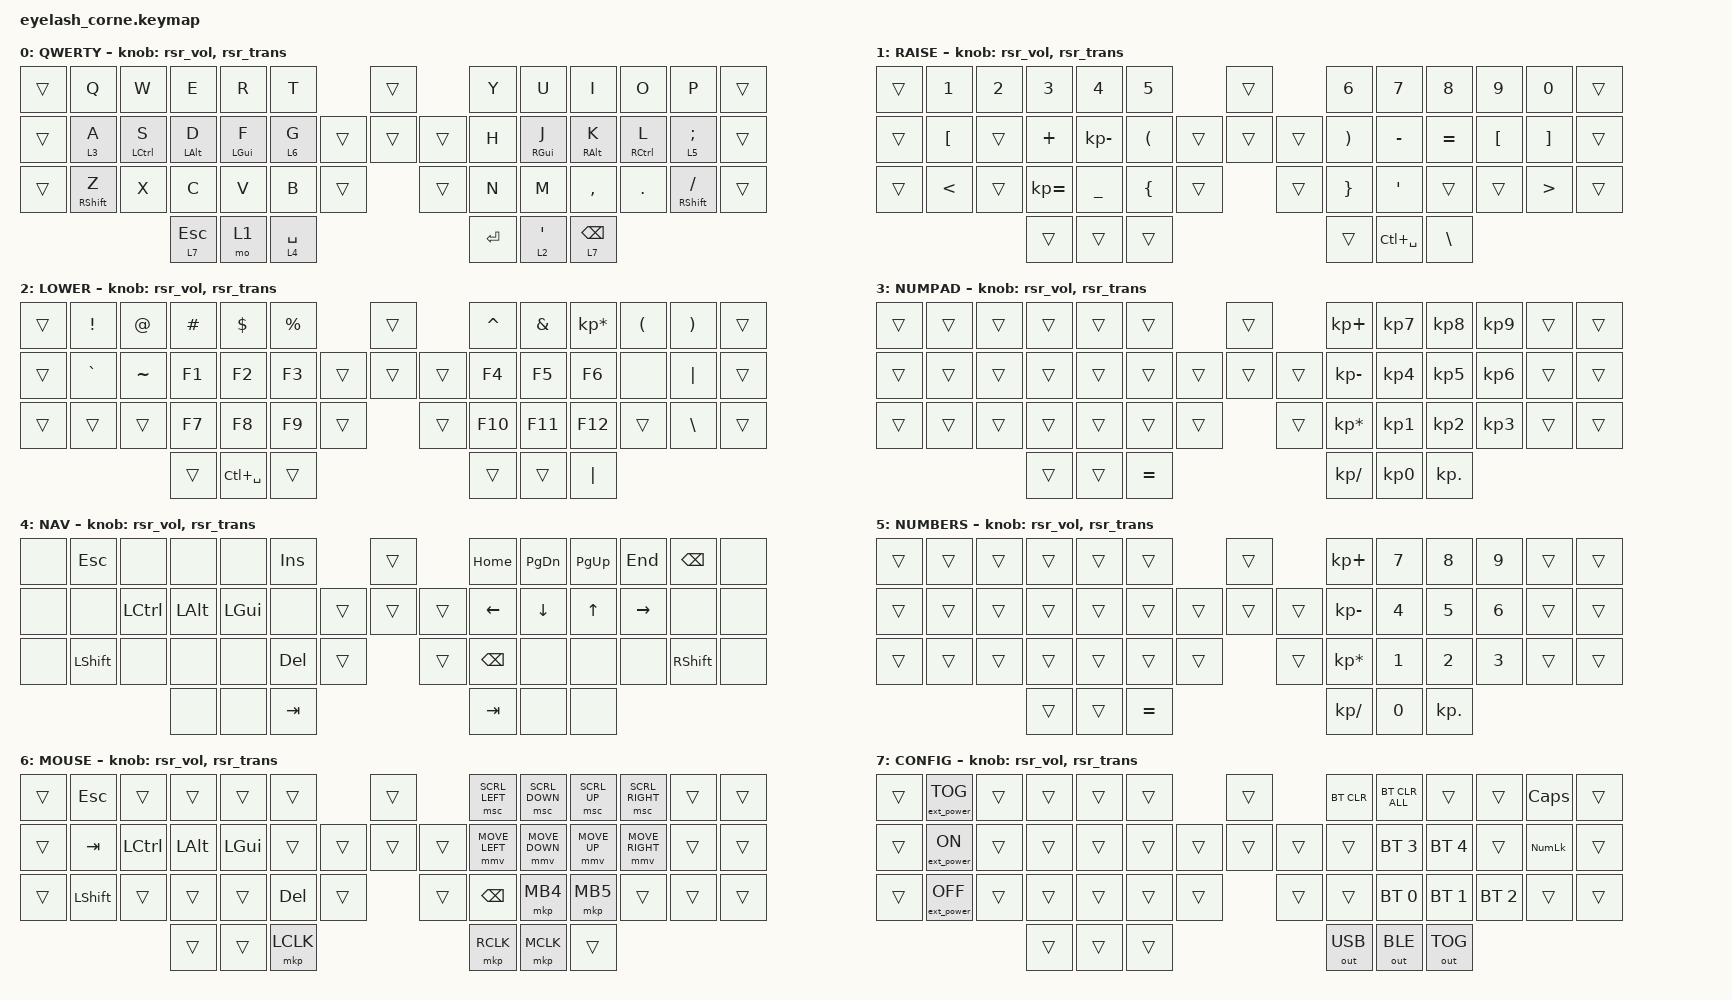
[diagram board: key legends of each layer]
#define ZMK_POINTING_DEFAULT_MOVE_VAL 1200  // 600
#define ZMK_POINTING_DEFAULT_SCRL_VAL 25   // 10

#include <input/processors.dtsi>
#include <zephyr/dt-bindings/input/input-event-codes.h>
#include <behaviors.dtsi>
#include <behaviors/runtime-sensor-rotate.dtsi>
#include <dt-bindings/zmk/bt.h>
#include <dt-bindings/zmk/keys.h>
#include <dt-bindings/zmk/outputs.h>
#include <dt-bindings/zmk/pointing.h>
#include <dt-bindings/zmk/rgb.h>
#include <dt-bindings/zmk/ext_power.h>

&soft_off { hold-time-ms = <2000>; };

&mt { flavor = "balanced"; };

&lt { flavor = "balanced"; };

/ {
    behaviors {

        mh: homerow_mods {
            compatible = "zmk,behavior-hold-tap";
            label = "HOMEROW_MODS";
            #binding-cells = <2>;
            tapping-term-ms = <200>;
            quick-tap-ms = <0>;
            flavor = "balanced";
            bindings = <&kp>, <&kp>;
        };

        td0: td0 {
            compatible = "zmk,behavior-tap-dance";
            display-name = "Shift/Caps Lock Tap Dance";
            #binding-cells = <0>;
            bindings = <&kp LEFT_SHIFT>, <&kp CAPS>;
        };
       

        rsr_vol: rsr_vol {
            compatible = "zmk,behavior-runtime-sensor-rotate";
            #sensor-binding-cells = <0>;
            tap-ms = <5>;
            cw-binding = <&kp C_VOL_UP>;
            ccw-binding = <&kp C_VOL_DN>;
        };

        rsr_trans: rsr_trans {
            compatible = "zmk,behavior-runtime-sensor-rotate";
            #sensor-binding-cells = <0>;
            tap-ms = <0>;
        };
    };

     



    keymap {
        compatible = "zmk,keymap";

       
        base0 {
            display-name = "QWERTY";
            bindings = <
&trans  &kp Q         &kp W        &kp E       &kp R       &kp T                            &trans          &kp Y      &kp U       &kp I            &kp O        &kp P            &trans
&trans  &lt 3 A       &mh LCTRL S  &mh LALT D  &mh LGUI F  &lt 6 G              &trans      &trans  &trans  &kp H      &mh RGUI J  &mh RALT K       &mh RCTRL L  &lt 5 SEMICOLON  &trans
&trans  &mt RSHIFT Z  &kp X        &kp C       &kp V       &kp B        &trans              &trans          &kp N      &kp M       &kp COMMA        &kp DOT      &mt RSHIFT FSLH  &trans
                                   &lt 7 ESC   &mo 1       &lt 4 SPACE                                      &kp ENTER  &lt 2 APOS  &lt 7 BACKSPACE
            >;

            sensor-bindings = <&rsr_vol &rsr_trans>;
        };

        //

        raise1 {
            display-name = "RAISE";
            bindings = <
&trans  &kp N1    &kp N2  &kp N3        &kp N4          &kp N5                          &trans          &kp N6    &kp N7         &kp N8         &kp N9            &kp N0    &trans
&trans  &kp LBKT  &trans  &kp PLUS      &kp KP_MINUS    &kp LPAR            &trans      &trans  &trans  &kp RPAR  &kp MINUS      &kp EQUAL      &kp LEFT_BRACKET  &kp RBKT  &trans
&trans  &kp LT    &trans  &kp KP_EQUAL  &kp UNDERSCORE  &kp LBRC    &trans              &trans          &kp RBRC  &kp SQT        &trans         &trans            &kp GT    &trans
                          &trans        &trans          &trans                                          &trans    &kp LC(SPACE)  &kp BACKSLASH
            >;

            sensor-bindings = <&rsr_vol &rsr_trans>;
        };

        lower2 {
            display-name = "LOWER";
            bindings = <
&trans  &kp EXCL   &kp AT     &kp HASH  &kp DLLR       &kp PRCNT                       &trans          &kp CARET  &kp AMPS  &kp KP_MULTIPLY  &kp LPAR  &kp RPAR       &trans
&trans  &kp GRAVE  &kp TILDE  &kp F1    &kp F2         &kp F3              &trans      &trans  &trans  &kp F4     &kp F5    &kp F6           &none     &kp PIPE       &trans
&trans  &trans     &trans     &kp F7    &kp F8         &kp F9      &trans              &trans          &kp F10    &kp F11   &kp F12          &trans    &kp BACKSLASH  &trans
                              &trans    &kp LC(SPACE)  &trans                                          &trans     &trans    &kp PIPE
            >;

            sensor-bindings = <&rsr_vol &rsr_trans>;
        };

        Numpad3 {
            display-name = "NUMPAD";
            bindings = <
&trans  &trans  &trans  &trans  &trans  &trans                          &trans          &kp KP_PLUS      &kp KP_N7        &kp KP_N8   &kp KP_N9  &trans  &trans
&trans  &trans  &trans  &trans  &trans  &trans              &trans      &trans  &trans  &kp KP_MINUS     &kp KP_N4        &kp KP_N5   &kp KP_N6  &trans  &trans
&trans  &trans  &trans  &trans  &trans  &trans      &trans              &trans          &kp KP_MULTIPLY  &kp KP_N1        &kp KP_N2   &kp KP_N3  &trans  &trans
                        &trans  &trans  &kp EQUAL                                       &kp KP_SLASH     &kp KP_NUMBER_0  &kp KP_DOT
            >;

            sensor-bindings = <&rsr_vol &rsr_trans>;
        };

        Direction4 {
            display-name = "NAV";
            bindings = <
&none  &kp ESCAPE  &none      &none     &none     &kp INSERT                      &trans          &kp HOME        &kp PAGE_DOWN   &kp PAGE_UP   &kp END          &kp BACKSPACE    &none
&none  &none       &kp LCTRL  &kp LALT  &kp LGUI  &none               &trans      &trans  &trans  &kp LEFT_ARROW  &kp DOWN_ARROW  &kp UP_ARROW  &kp RIGHT_ARROW  &none            &none
&none  &kp LSHIFT  &none      &none     &none     &kp DEL     &trans              &trans          &kp BACKSPACE   &none           &none         &none            &kp RIGHT_SHIFT  &none
                              &none     &none     &kp TAB                                         &kp TAB         &none           &none
            >;

            sensor-bindings = <&rsr_vol &rsr_trans>;
        };

        Number5 {
            display-name = "NUMBERS";
            bindings = <
&trans  &trans  &trans  &trans  &trans  &trans                          &trans          &kp KP_PLUS      &kp N7  &kp N8      &kp N9  &trans  &trans
&trans  &trans  &trans  &trans  &trans  &trans              &trans      &trans  &trans  &kp KP_MINUS     &kp N4  &kp N5      &kp N6  &trans  &trans
&trans  &trans  &trans  &trans  &trans  &trans      &trans              &trans          &kp KP_MULTIPLY  &kp N1  &kp N2      &kp N3  &trans  &trans
                        &trans  &trans  &kp EQUAL                                       &kp KP_SLASH     &kp N0  &kp KP_DOT
            >;

            sensor-bindings = <&rsr_vol &rsr_trans>;
        }; 

        Mouse6 {
            display-name = "MOUSE";
            bindings = <
&trans  &kp ESC     &trans     &trans    &trans    &trans                          &trans          &msc SCRL_LEFT  &msc SCRL_DOWN  &msc SCRL_UP  &msc SCRL_RIGHT  &trans  &trans
&trans  &kp TAB     &kp LCTRL  &kp LALT  &kp LGUI  &trans              &trans      &trans  &trans  &mmv MOVE_LEFT  &mmv MOVE_DOWN  &mmv MOVE_UP  &mmv MOVE_RIGHT  &trans  &trans
&trans  &kp LSHIFT  &trans     &trans    &trans    &kp DEL     &trans              &trans          &kp BACKSPACE   &mkp MB4        &mkp MB5      &trans           &trans  &trans
                               &trans    &trans    &mkp LCLK                                       &mkp RCLK       &mkp MCLK       &trans
            >;

            sensor-bindings = <&rsr_vol &rsr_trans>;
        };

        Config7 {
            display-name = "CONFIG";
            bindings = <
&trans  &ext_power EP_TOG   &trans        &trans        &trans        &trans                            &trans          &bt BT_CLR    &bt BT_CLR_ALL    &trans          &trans           &kp CAPS    &trans
&trans  &ext_power EP_ON    &trans        &trans        &trans        &trans                &trans      &trans  &trans  &trans        &bt BT_SEL 3      &bt BT_SEL 4    &trans           &kp KP_NUM  &trans
&trans  &ext_power EP_OFF   &trans        &trans        &trans        &trans      &trans                &trans          &trans        &bt BT_SEL 0      &bt BT_SEL 1    &bt BT_SEL 2     &trans      &trans
                                          &trans        &trans        &trans                                            &out OUT_USB  &out OUT_BLE      &out OUT_TOG 
            >;

            sensor-bindings = <&rsr_vol &rsr_trans>;
        };
    };
};
